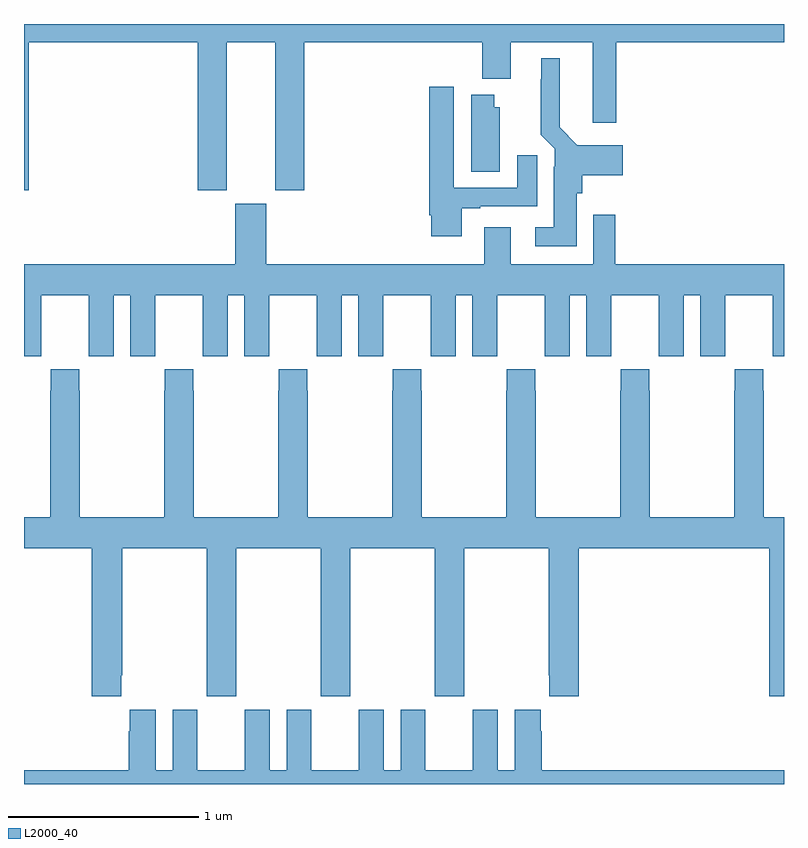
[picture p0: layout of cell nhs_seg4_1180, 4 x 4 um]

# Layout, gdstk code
import gdstk
lib = gdstk.Library(unit=1e-6, precision=1e-09)
def P(c, l, *ps):  # polygons
    for p in ps: c.add(gdstk.Polygon(p, *l))
L2000_40 = (2000, 40)

nhs_seg4_1180 = lib.new_cell('nhs_seg4_1180')
P(nhs_seg4_1180, L2000_40, [(172.475,812.804),(173.411,812.804),(173.411,812.612),(173.563,812.612),(173.563,812.804),(173.993,812.804),(173.993,812.379),(174.116,812.379),(174.116,812.804),(175,812.804),(175,812.9),(171,812.9),(171,812.025),(171.026,812.025),(171.026,812.804),(171.914,812.804),(171.914,812.025),(172.066,812.025),(172.066,812.804),(172.322,812.804),(172.322,812.025),(172.475,812.025)],
  [(173.908,812.01),(173.939,812.01),(173.939,812.105),(174.151,812.105),(174.151,812.263),(173.913,812.263),(173.821,812.356),(173.821,812.719),(173.723,812.719),(173.723,812.609),(173.719,812.609),(173.719,812.318),(173.793,812.244),(173.793,812.15),(173.789,812.15),(173.789,811.831),(173.691,811.831),(173.691,811.73),(173.908,811.73)],
  [(173.305,811.929),(173.401,811.929),(173.401,811.941),(173.701,811.941),(173.701,812.209),(173.597,812.209),(173.597,812.037),(173.263,812.037),(173.263,812.569),(173.132,812.569),(173.132,811.894),(173.144,811.894),(173.144,811.782),(173.305,811.782)],
  [(173.503,812.463),(173.476,812.463),(173.476,812.527),(173.354,812.527),(173.354,812.122),(173.503,812.122)],
  [(171.09,811.264),(171.091,811.264),(171.091,811.472),(171.341,811.472),(171.341,811.264),(171.342,811.264),(171.342,811.152),(171.472,811.152),(171.472,811.472),(171.56,811.472),(171.56,811.152),(171.69,811.152),(171.69,811.264),(171.691,811.264),(171.691,811.472),(171.941,811.472),(171.941,811.264),(171.942,811.264),(171.942,811.152),(172.072,811.152),(172.072,811.472),(172.16,811.472),(172.16,811.152),(172.29,811.152),(172.29,811.264),(172.291,811.264),(172.291,811.472),(172.541,811.472),(172.541,811.264),(172.542,811.264),(172.542,811.152),(172.672,811.152),(172.672,811.472),(172.76,811.472),(172.76,811.152),(172.89,811.152),(172.89,811.264),(172.891,811.264),(172.891,811.472),(173.141,811.472),(173.141,811.264),(173.142,811.264),(173.142,811.152),(173.272,811.152),(173.272,811.472),(173.36,811.472),(173.36,811.152),(173.49,811.152),(173.49,811.264),(173.491,811.264),(173.491,811.472),(173.741,811.472),(173.741,811.264),(173.742,811.264),(173.742,811.152),(173.872,811.152),(173.872,811.472),(173.96,811.472),(173.96,811.152),(174.09,811.152),(174.09,811.264),(174.091,811.264),(174.091,811.472),(174.341,811.472),(174.341,811.264),(174.342,811.264),(174.342,811.152),(174.472,811.152),(174.472,811.472),(174.56,811.472),(174.56,811.152),(174.69,811.152),(174.69,811.264),(174.691,811.264),(174.691,811.472),(174.941,811.472),(174.941,811.264),(174.942,811.264),(174.942,811.152),(175,811.152),(175,811.636),(174.113,811.636),(174.113,811.897),(173.997,811.897),(173.997,811.636),(173.563,811.636),(173.563,811.831),(173.423,811.831),(173.423,811.636),(172.276,811.636),(172.276,811.953),(172.112,811.953),(172.112,811.636),(171,811.636),(171,811.152),(171.09,811.152)],
  [(172.561,809.361),(172.716,809.361),(172.716,810.14),(173.161,810.14),(173.161,809.361),(173.316,809.361),(173.316,810.14),(173.761,810.14),(173.761,809.473),(173.765,809.473),(173.765,809.361),(173.921,809.361),(173.921,810.14),(174.923,810.14),(174.923,809.361),(175,809.361),(175,810.304),(174.894,810.304),(174.894,810.971),(174.891,810.971),(174.891,811.084),(174.741,811.084),(174.741,810.971),(174.739,810.971),(174.739,810.304),(174.294,810.304),(174.294,810.971),(174.291,810.971),(174.291,811.084),(174.141,811.084),(174.141,810.971),(174.139,810.971),(174.139,810.304),(173.694,810.304),(173.694,810.971),(173.691,810.971),(173.691,811.084),(173.541,811.084),(173.541,810.971),(173.539,810.971),(173.539,810.304),(173.094,810.304),(173.094,810.971),(173.091,810.971),(173.091,811.084),(172.941,811.084),(172.941,810.971),(172.939,810.971),(172.939,810.304),(172.494,810.304),(172.494,810.971),(172.491,810.971),(172.491,811.084),(172.341,811.084),(172.341,810.971),(172.339,810.971),(172.339,810.304),(171.894,810.304),(171.894,810.971),(171.891,810.971),(171.891,811.084),(171.741,811.084),(171.741,810.971),(171.739,810.971),(171.739,810.304),(171.294,810.304),(171.294,810.971),(171.291,810.971),(171.291,811.084),(171.141,811.084),(171.141,810.971),(171.139,810.971),(171.139,810.304),(171,810.304),(171,810.14),(171.356,810.14),(171.356,809.361),(171.511,809.361),(171.511,809.473),(171.516,809.473),(171.516,810.14),(171.961,810.14),(171.961,809.361),(172.116,809.361),(172.116,810.14),(172.561,810.14)],
  [(172.382,809.29),(172.382,808.972),(172.294,808.972),(172.294,809.29),(172.163,809.29),(172.163,808.972),(171.913,808.972),(171.913,809.29),(171.782,809.29),(171.782,808.972),(171.694,808.972),(171.694,809.29),(171.557,809.29),(171.557,809.177),(171.551,809.177),(171.551,808.972),(171,808.972),(171,808.9),(175,808.9),(175,808.972),(173.726,808.972),(173.726,809.177),(173.719,809.177),(173.719,809.29),(173.582,809.29),(173.582,808.972),(173.494,808.972),(173.494,809.29),(173.363,809.29),(173.363,808.972),(173.113,808.972),(173.113,809.29),(172.982,809.29),(172.982,808.972),(172.894,808.972),(172.894,809.29),(172.763,809.29),(172.763,808.972),(172.513,808.972),(172.513,809.29)])

lib.write_gds('nhs_seg4_1180.gds')
